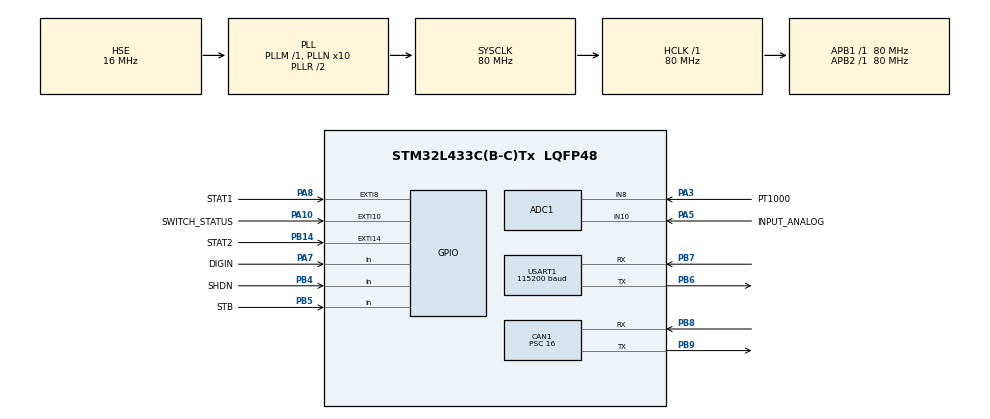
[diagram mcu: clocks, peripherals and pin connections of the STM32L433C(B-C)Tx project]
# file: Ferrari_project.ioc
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ADC1.Channel-1\#ChannelRegularConversion=ADC_CHANNEL_8
ADC1.ClockPrescaler=ADC_CLOCK_ASYNC_DIV8
ADC1.NbrOfConversionFlag=1
ADC1.OffsetNumber-1\#ChannelRegularConversion=ADC_OFFSET_NONE
ADC1.Rank-1\#ChannelRegularConversion=1
ADC1.SamplingTime-1\#ChannelRegularConversion=ADC_SAMPLETIME_2CYCLES_5
ADC1.master=1
CAN1.BS1=CAN_BS1_2TQ
CAN1.BS2=CAN_BS2_2TQ
CAN1.CalculateBaudRate=1000000
CAN1.CalculateTimeBit=1000
CAN1.CalculateTimeQuantum=200.0
CAN1.Prescaler=16
Mcu.Family=STM32L4
Mcu.Name=STM32L433C(B-C)Tx
Mcu.Package=LQFP48
NVIC.EXTI15_10_IRQn=true\:0\:0\:false\:false\:true\:true\:true\:true
NVIC.EXTI9_5_IRQn=true\:0\:0\:false\:false\:true\:true\:true\:true
NVIC.PriorityGroup=NVIC_PRIORITYGROUP_4
NVIC.TIM1_BRK_TIM15_IRQn=true\:2\:0\:true\:false\:true\:true\:true\:true
NVIC.TIM1_CC_IRQn=true\:5\:0\:true\:false\:true\:true\:true\:true
NVIC.TIM1_TRG_COM_IRQn=true\:4\:0\:true\:false\:true\:true\:true\:true
NVIC.TIM1_UP_TIM16_IRQn=true\:3\:0\:true\:false\:true\:true\:true\:true
NVIC.USART1_IRQn=true\:6\:0\:true\:false\:true\:true\:true\:true
PA10.GPIO_Label=SWITCH_STATUS
PA10.GPIO_ModeDefaultEXTI=GPIO_MODE_IT_RISING_FALLING
PA10.Signal=GPXTI10
PA13\ (JTMS-SWDIO).Mode=Serial_Wire
PA13\ (JTMS-SWDIO).Signal=SYS_JTMS-SWDIO
PA14\ (JTCK-SWCLK).Mode=Serial_Wire
PA14\ (JTCK-SWCLK).Signal=SYS_JTCK-SWCLK
PA3.GPIO_Label=PT1000
PA3.Signal=ADCx_IN8
PA5.GPIO_Label=INPUT_ANALOG
PA5.Signal=ADCx_IN10
PA7.GPIO_Label=DIGIN
PA7.Signal=GPIO_Input
PA8.GPIO_Label=STAT1
PA8.GPIO_ModeDefaultEXTI=GPIO_MODE_IT_RISING_FALLING
PA8.GPIO_PuPd=GPIO_PULLUP
PA8.Signal=GPXTI8
PB14.GPIO_Label=STAT2
PB14.GPIO_ModeDefaultEXTI=GPIO_MODE_IT_RISING_FALLING
PB14.GPIO_PuPd=GPIO_PULLUP
PB14.Signal=GPXTI14
PB4\ (NJTRST).GPIO_Label=SHDN
PB4\ (NJTRST).GPIO_PuPd=GPIO_PULLDOWN
PB4\ (NJTRST).Signal=GPIO_Input
PB5.GPIO_Label=STB
PB5.GPIO_PuPd=GPIO_PULLDOWN
PB5.Signal=GPIO_Input
PB6.Mode=Asynchronous
PB6.Signal=USART1_TX
PB7.Mode=Asynchronous
PB7.Signal=USART1_RX
PB8.Mode=CAN_Activate
PB8.Signal=CAN1_RX
PB9.Mode=CAN_Activate
PB9.Signal=CAN1_TX
PH0-OSC_IN\ (PH0).Mode=HSE-External-Oscillator
PH0-OSC_IN\ (PH0).Signal=RCC_OSC_IN
PH1-OSC_OUT\ (PH1).Mode=HSE-External-Oscillator
PH1-OSC_OUT\ (PH1).Signal=RCC_OSC_OUT
ProjectManager.HeapSize=0x200
ProjectManager.StackSize=0x400
ProjectManager.TargetToolchain=STM32CubeIDE
RCC.ADCFreq_Value=64000000
RCC.AHBFreq_Value=80000000
RCC.APB1Freq_Value=80000000
RCC.APB1TimFreq_Value=80000000
RCC.APB2Freq_Value=80000000
RCC.APB2TimFreq_Value=80000000
RCC.CortexFreq_Value=80000000
RCC.HCLKFreq_Value=80000000
RCC.HSE_VALUE=16000000
RCC.HSI48_VALUE=48000000
RCC.HSI_VALUE=16000000
RCC.LSE_VALUE=32768
RCC.MSI_VALUE=4000000
RCC.PLLN=10
RCC.PLLSourceVirtual=RCC_PLLSOURCE_HSE
RCC.SYSCLKFreq_VALUE=80000000
RCC.SYSCLKSource=RCC_SYSCLKSOURCE_PLLCLK
RCC.USBFreq_Value=64000000
RCC.VCOOutputFreq_Value=160000000
RTC.Date=22
RTC.Hours=9
RTC.Minutes=10
RTC.Month=RTC_MONTH_DECEMBER
RTC.WeekDay=RTC_WEEKDAY_FRIDAY
RTC.Year=23
SH.ADCx_IN10.0=ADC1_IN10,IN10-Single-Ended
SH.ADCx_IN8.0=ADC1_IN8,IN8-Single-Ended
TIM1.AutoReloadPreload=TIM_AUTORELOAD_PRELOAD_ENABLE
TIM1.Period=1000
TIM1.Prescaler=79
USART1.BaudRate=115200
USART1.OverSampling=UART_OVERSAMPLING_8
USART1.VirtualMode-Asynchronous=VM_ASYNC
VP_RTC_VS_RTC_Activate.Mode=RTC_Enabled
VP_RTC_VS_RTC_Calendar.Mode=RTC_Calendar
VP_TIM1_VS_ClockSourceINT.Mode=Internal
board=custom

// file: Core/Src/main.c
/* USER CODE BEGIN Header */
/**
  ******************************************************************************
  * @file           : main.c
  * @brief          : Main program body
  ******************************************************************************
  * @attention
  *
  * Copyright (c) 2023 STMicroelectronics.
  * All rights reserved.
  *
  * This software is licensed under terms that can be found in the LICENSE file
  * in the root directory of this software component.
  * If no LICENSE file comes with this software, it is provided AS-IS.
  *
  ******************************************************************************
  */
/* USER CODE END Header */
#include "main.h"
#include "adc.h"
#include "can.h"
#include "rtc.h"
#include "tim.h"
#include "usart.h"
#include "gpio.h"

/* USER CODE BEGIN Includes */
#include "stdio.h"
#include "string.h"
/* USER CODE END Includes */

/* USER CODE BEGIN PD */

#define R19overR17 1.6
#define Vdd 3.3
#define ParallelR18R17 909.1
#define R16 10000
#define R19 16000
#define ADCMAX 4095.0 // (2^12-1) Maximum value for 12-bit ADC
#define beta 3.85 // Coefficient of Pt1000 [Ω/°C]
#define R_0deg 1000 // Electrical nominal resistance at 0°C [Ω]

#define map(x, in_min, in_max, out_min, out_max)  ((x - in_min) * (out_max - out_min) / (in_max - in_min) + out_min)

/* USER CODE END PD */

/* USER CODE BEGIN PV */

uint32_t pippo = 0;
uint32_t adcValue = 0;

char stat1 = '0';
char stat2 = '0';
char switch_status = '0';
const char *switch_status_string;
const char *status_charger_strings[] = {
        "Charge completed",
        "Charging",
        "Recoverable fault",
        "Non-recoverable fault",
		"External power supply disconnected",
		"Battery not connected"
    };
int status_charger;

char buffer1 [150];
char buffer2 [150];
char timestamp [50];

ADC_ChannelConfTypeDef adcPT1000Channel = {0};
ADC_ChannelConfTypeDef adcVInChannel = {0};

uint16_t adcVin;
uint16_t adcPT1000;
uint16_t meanadcPT1000;
uint16_t sumadcPT1000;
int meancount = 0;

int battery_dis = 0;
static uint32_t millisStat = 0;

float RPt1000;
float meanPT1000;
float pt1000;
float vIn;

uint16_t pt1000_CAN = 0;
uint16_t vIn_CAN = 0;
uint8_t digIn_CAN = 0;

RTC_DateTypeDef getDate = {0};
RTC_TimeTypeDef getTime = {0};

CAN_TxHeaderTypeDef 	pHeader;
uint32_t 				TxMailbox;
uint8_t canTxBuff[8] = {0};

uint8_t uartStatus = 0;
uint8_t uartTxBuff[8];
uint8_t usartRxBuff[8];

uint8_t printMode = 0;
uint32_t interrupt = 0;

/* USER CODE END PV */

void SystemClock_Config(void);
/* USER CODE BEGIN PFP */

char Read_Save_Pin_Status(GPIO_TypeDef* GPIOx, uint16_t GPIO_Pin);
float Convert_Pt1000_RawData(uint16_t Pt1000ADC);

/* USER CODE END PFP */

int main(void)
{

  /* MCU Configuration--------------------------------------------------------*/

  /* Reset of all peripherals, Initializes the Flash interface and the Systick. */
  HAL_Init();

  /* Configure the system clock */
  SystemClock_Config();

  /* Initialize all configured peripherals */
  MX_GPIO_Init();
  MX_ADC1_Init();
  MX_CAN1_Init();
  MX_USART1_UART_Init();
  MX_TIM1_Init();
  MX_RTC_Init();
  /* USER CODE BEGIN 2 */

  stat1 = Read_Save_Pin_Status(GPIOA, GPIO_PIN_8);
  stat2 = Read_Save_Pin_Status(GPIOB, GPIO_PIN_14);
  switch_status = Read_Save_Pin_Status(GPIOA, GPIO_PIN_10);

  pHeader.DLC = 8; 						//give message size of 1 byte
  pHeader.IDE = CAN_ID_STD; 				//set identifier to standard
  pHeader.RTR = CAN_RTR_DATA; 				//set data type to remote transmission request?
  pHeader.StdId = 0x300; 					//define a standard identifier, used for message identification by filters (switch this for the other microcontroller)

  HAL_CAN_Start(&hcan1);

  HAL_UART_Receive_IT(&huart1, usartRxBuff, 8);

  adcPT1000Channel.Channel = ADC_CHANNEL_8;
  adcPT1000Channel.Rank = ADC_REGULAR_RANK_1;
  adcPT1000Channel.SamplingTime = ADC_SAMPLETIME_24CYCLES_5;
  adcPT1000Channel.SingleDiff = ADC_SINGLE_ENDED;
  adcPT1000Channel.OffsetNumber = ADC_OFFSET_NONE;
  adcPT1000Channel.Offset = 0;
  HAL_ADC_ConfigChannel(&hadc1, &adcPT1000Channel);

  adcVInChannel.Channel = ADC_CHANNEL_10;
  adcVInChannel.Rank = ADC_REGULAR_RANK_1;
  adcVInChannel.SamplingTime = ADC_SAMPLETIME_24CYCLES_5;
  adcVInChannel.SingleDiff = ADC_SINGLE_ENDED;
  adcVInChannel.OffsetNumber = ADC_OFFSET_NONE;
  adcVInChannel.Offset = 0;
  HAL_ADC_ConfigChannel(&hadc1, &adcVInChannel);

  HAL_TIM_Base_Start_IT(&htim1);

  /* USER CODE END 2 */

  /* Infinite loop */
  while (1)
  {

    /* USER CODE BEGIN 3 */

//	  static uint32_t millisLedBlink = 0;
//
//	  if(millis >= millisLedBlink + 100)
//	  {
//		  adcValue = HAL_ADC_GetValue(&hadc1);
//
//		  //HAL_GPIO_TogglePin(LED_GPIO_Port, LED_Pin);
//		  pippo++;
//		  millisLedBlink = millis;
//
//		  HAL_ADC_Start(&hadc1);
//	  }

	  static uint32_t millisUart = 0;

	  if(printMode == 0)
	  {
		  if(millis >= millisUart + 1000)
		  {
			  // ASSOCIATE THE SOURCE INFORMATION TO THE SWITCH_STATUS
			  if (switch_status == '1') {
			          switch_status_string = "Battery";
			  }
			  else{
			          switch_status_string = "External Power";
			  }

			  // ASSOCIATE THE SOURCE INFORMATION TO THE BATTERY CHARGER
			  if (switch_status == '1') {
				  status_charger = 4;
			  }
			  else if(battery_dis == '1'){
				  status_charger = 5;
			  }
			  else {
				  if (stat1 == '1' && stat2 == '1') {
					  status_charger = 0; // Combination: 11
				  } else if (stat1 == '1' && stat2 == '0') {
					  status_charger = 2; // Combination: 10
				  } else if (stat1 == '0' && stat2 == '1') {
					  status_charger = 1; // Combination: 01
				  } else{
					  status_charger = 3; // Combination: 00
				  }
			  }

			  // GENERATE THE STRING TO PRINT TO UART

			  HAL_RTC_GetTime(&hrtc, &getTime, RTC_FORMAT_BIN);
			  HAL_RTC_GetDate(&hrtc, &getDate, RTC_FORMAT_BIN);
			  sprintf(timestamp,"DATE: %02d/%02d/%02d TIME: %02d:%02d:%02d\r\n", getDate.Date, getDate.Month, getDate.Year, getTime.Hours, getTime.Minutes, getTime.Seconds);
			  HAL_UART_Transmit(&huart1,(uint8_t *)timestamp, strlen(timestamp), 100);

			  sprintf(buffer1, "PT1000 READING: %.2f \r\nANALOG READING: %.2f \r\nDIGITAL READING: %d \r\n", meanPT1000, vIn, digIn_CAN);
			  HAL_UART_Transmit(&huart1,(uint8_t *)buffer1, strlen(buffer1), 100);
			  sprintf(buffer2, "CHARGER STATE: %s \r\nPOWER SUPPLY: %s \r\n\n", status_charger_strings[status_charger], switch_status_string);
			  HAL_UART_Transmit(&huart1,(uint8_t *)buffer2, strlen(buffer2), 100);

			  HAL_CAN_AddTxMessage(&hcan1, &pHeader, canTxBuff, &TxMailbox);

			  millisUart = millis;
		  }
	  }
	  else
	  {
		  if(millis >= millisUart + 100)
		  {
	  //		  uartTxBuff[0] = pt1000 >> 8;
	  //		  uartTxBuff[1] = pt1000;
	  //		  uartTxBuff[2] = vIn >> 8;
	  //		  uartTxBuff[3] = vIn;
	  //		  uartTxBuff[4] = digIn;
	  //		  uartTxBuff[5] = 0;
	  //		  uartTxBuff[6] = 0;
			  uartTxBuff[1] = '\n';

			  uartTxBuff[0] = 'b';

			  //HAL_CAN_AddTxMessage(&hcan1, &pHeader, canTxBuff, &TxMailbox);

			  uartStatus = HAL_UART_Transmit(&huart1, uartTxBuff, 8, 100);

			  millisUart = millis;
		  }
	  }

  }
  /* USER CODE END 3 */
}

void SystemClock_Config(void)
{
  RCC_OscInitTypeDef RCC_OscInitStruct = {0};
  RCC_ClkInitTypeDef RCC_ClkInitStruct = {0};

  /** Configure the main internal regulator output voltage
  */
  if (HAL_PWREx_ControlVoltageScaling(PWR_REGULATOR_VOLTAGE_SCALE1) != HAL_OK)
  {
    Error_Handler();
  }

  /** Initializes the RCC Oscillators according to the specified parameters
  * in the RCC_OscInitTypeDef structure.
  */
  RCC_OscInitStruct.OscillatorType = RCC_OSCILLATORTYPE_LSI|RCC_OSCILLATORTYPE_HSE;
  RCC_OscInitStruct.HSEState = RCC_HSE_ON;
  RCC_OscInitStruct.LSIState = RCC_LSI_ON;
  RCC_OscInitStruct.PLL.PLLState = RCC_PLL_ON;
  RCC_OscInitStruct.PLL.PLLSource = RCC_PLLSOURCE_HSE;
  RCC_OscInitStruct.PLL.PLLM = 1;
  RCC_OscInitStruct.PLL.PLLN = 10;
  RCC_OscInitStruct.PLL.PLLP = RCC_PLLP_DIV7;
  RCC_OscInitStruct.PLL.PLLQ = RCC_PLLQ_DIV2;
  RCC_OscInitStruct.PLL.PLLR = RCC_PLLR_DIV2;
  if (HAL_RCC_OscConfig(&RCC_OscInitStruct) != HAL_OK)
  {
    Error_Handler();
  }

  /** Initializes the CPU, AHB and APB buses clocks
  */
  RCC_ClkInitStruct.ClockType = RCC_CLOCKTYPE_HCLK|RCC_CLOCKTYPE_SYSCLK
                              |RCC_CLOCKTYPE_PCLK1|RCC_CLOCKTYPE_PCLK2;
  RCC_ClkInitStruct.SYSCLKSource = RCC_SYSCLKSOURCE_PLLCLK;
  RCC_ClkInitStruct.AHBCLKDivider = RCC_SYSCLK_DIV1;
  RCC_ClkInitStruct.APB1CLKDivider = RCC_HCLK_DIV1;
  RCC_ClkInitStruct.APB2CLKDivider = RCC_HCLK_DIV1;

  if (HAL_RCC_ClockConfig(&RCC_ClkInitStruct, FLASH_LATENCY_4) != HAL_OK)
  {
    Error_Handler();
  }
}

/* USER CODE BEGIN 4 */

char Read_Save_Pin_Status(GPIO_TypeDef* GPIOx, uint16_t GPIO_Pin)
{
	char status;
	if (HAL_GPIO_ReadPin(GPIOx, GPIO_Pin) == GPIO_PIN_SET){
		status = '1';
	}
	else if (HAL_GPIO_ReadPin(GPIOx, GPIO_Pin) == GPIO_PIN_RESET){
		status = '0';
	}
	else {
		status = 'F';
	}
	return status;
}

uint16_t pt1000Counter = 0;

void HAL_TIM_PeriodElapsedCallback(TIM_HandleTypeDef *htim)
{
	interrupt++;

	adcVin = HAL_ADC_GetValue(&hadc1);
	vIn = map((float) (adcVin), (float) (770), (float) (3993), (float) (1), (float) (5));
	vIn_CAN = (uint16_t)(vIn * 100);

	pt1000Counter++;

	if(pt1000Counter >= 100)
	{
		HAL_ADC_ConfigChannel(&hadc1, &adcPT1000Channel);
		HAL_ADC_Start(&hadc1);

		HAL_ADC_PollForConversion(&hadc1, 100);
		adcPT1000 = HAL_ADC_GetValue(&hadc1);

		pt1000 = Convert_Pt1000_RawData((float)(adcPT1000));
		pt1000_CAN = (uint16_t)(pt1000 * 100);

		if(meancount <9)
		{
			sumadcPT1000 += adcPT1000;
			meancount ++;
		}
		else
		{
			sumadcPT1000 += adcPT1000;
			meanPT1000 = sumadcPT1000/10;
			meanPT1000 = Convert_Pt1000_RawData((float)(meanPT1000));
			meancount = 0;
			sumadcPT1000 = 0;

		}

		HAL_ADC_ConfigChannel(&hadc1, &adcVInChannel);
		HAL_ADC_Start(&hadc1);

		pt1000Counter = 0;

		digIn_CAN = HAL_GPIO_ReadPin(DIGIN_GPIO_Port, DIGIN_Pin);
	}
	else
	{
		HAL_ADC_Start(&hadc1);
		/* Eseguiamo alla fine la lettura dell'ADC alla fine del timer, in questo modo il tempo perso per eseguire l'operazione di lettura
		 * dell'ADC viene fatto dopo aver letto e trasmesso i valori. Lo svantaggio è quello di avere un valore letto circa 1ms prima .*/
	}

	//CAN Tx message

	canTxBuff[0] = pt1000_CAN >> 8;
	canTxBuff[1] = pt1000_CAN;
	canTxBuff[2] = vIn_CAN >> 8;
	canTxBuff[3] = vIn_CAN;
	canTxBuff[4] = digIn_CAN;
	//canTxBuff[5] = 0;
	//canTxBuff[6] = 0;
	//canTxBuff[7] = 0;

	HAL_CAN_AddTxMessage(&hcan1, &pHeader, canTxBuff, &TxMailbox);

}

void HAL_GPIO_EXTI_Callback(uint16_t GPIO_Pin)
{
  /* Prevent unused argument(s) compilation warning */
	stat1 = Read_Save_Pin_Status(GPIOA, GPIO_PIN_8);
	stat2 = Read_Save_Pin_Status(GPIOB, GPIO_PIN_14);
	switch_status = Read_Save_Pin_Status(GPIOA, GPIO_PIN_10);

	if(millis <= millisStat + 400){
		battery_dis = 1;
	}
	else{
		battery_dis = 0;
	}
	millisStat = millis;
  /* NOTE: This function should not be modified, when the callback is needed,
           the HAL_GPIO_EXTI_Callback could be implemented in the user file
   */
}

void HAL_UART_RxCpltCallback(UART_HandleTypeDef *huart)
{
	HAL_UART_Receive_IT(&huart1, usartRxBuff, 8);

	if(usartRxBuff[0] == '1')
		printMode = 1;
	else
		printMode = 0;
}

float Convert_Pt1000_RawData(uint16_t Pt1000ADC)
{
	float temperature;
	float Vout = (float) ((Vdd/ADCMAX)*Pt1000ADC);
	float alpha = (float) ((R19overR17 + (Vout/Vdd))*(ParallelR18R17/(ParallelR18R17+R19)));
	RPt1000 = (float) ((alpha*R16)/(1-alpha));

	temperature = (float) ((RPt1000-R_0deg)/beta);
	return temperature;
}

/* USER CODE END 4 */

void Error_Handler(void)
{
  __disable_irq();
  while (1)
  {
  }
}
